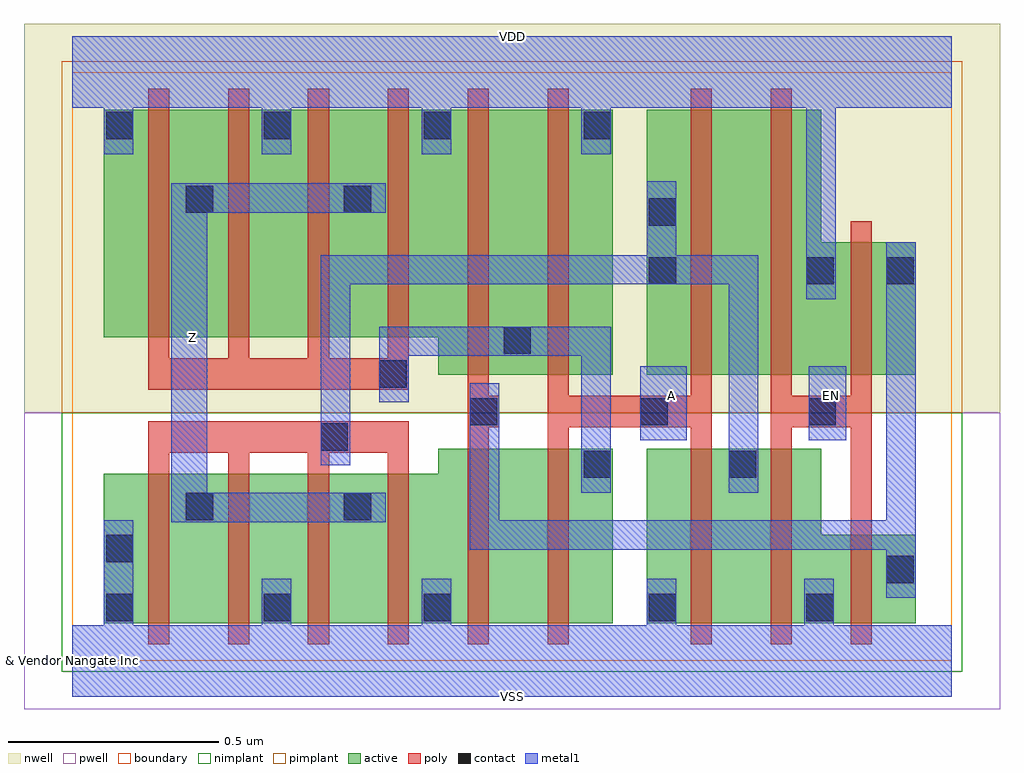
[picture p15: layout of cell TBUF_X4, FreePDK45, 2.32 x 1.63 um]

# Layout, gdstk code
import gdstk
lib = gdstk.Library(unit=1e-6, precision=1e-10)
def R(c, l, rs):  # rectangles x0, y0, x1, y1
    for r in rs: c.add(gdstk.rectangle(r[:2], r[2:], *l))
def A(c, l, x, y, w, h, nx, ny, dx, dy):  # array of equal rectangles
    R(c, l, [(x+i*dx, y+j*dy, x+i*dx+w, y+j*dy+h) for i in range(nx) for j in range(ny)])
def P(c, l, *ps):  # polygons
    for p in ps: c.add(gdstk.Polygon(p, *l))
active = (1, 0)
pwell = (2, 0)
nwell = (3, 0)
nimplant = (4, 0)
pimplant = (5, 0)
poly = (9, 0)
contact = (10, 0)
metal1 = (11, 0)
boundary = (235, 0)

tbuf_x4 = lib.new_cell('TBUF_X4')
P(tbuf_x4, active, [(0.075,0.09),(0.075,0.445),(0.87,0.445),(0.87,0.505),(1.285,0.505),(1.285,0.09)],
  [(0.87,0.68),(0.87,0.77),(0.075,0.77),(0.075,1.31),(1.285,1.31),(1.285,0.68)],
  [(1.365,0.09),(1.365,0.505),(1.78,0.505),(1.78,0.3),(2.005,0.3),(2.005,0.09)],
  [(1.365,0.68),(1.365,1.31),(1.78,1.31),(1.78,0.995),(2.005,0.995),(2.005,0.68)])
R(tbuf_x4, pwell, [(-0.115,-0.115,2.205,0.59)])
R(tbuf_x4, nwell, [(-0.115,0.59,2.205,1.515)])
R(tbuf_x4, nimplant, [(-0.025,-0.025,2.115,0.59)])
R(tbuf_x4, pimplant, [(-0.025,0.59,2.115,1.425)])
P(tbuf_x4, poly, [(0.18,0.04),(0.18,0.57),(0.8,0.57),(0.8,0.04),(0.75,0.04),(0.75,0.495),(0.61,0.495),(0.61,0.04),(0.56,0.04),(0.56,0.495),(0.42,0.495),(0.42,0.04),(0.37,0.04),(0.37,0.495),(0.23,0.495),(0.23,0.04)],
  [(0.18,0.645),(0.18,1.36),(0.23,1.36),(0.23,0.72),(0.37,0.72),(0.37,1.36),(0.42,1.36),(0.42,0.72),(0.56,0.72),(0.56,1.36),(0.61,1.36),(0.61,0.72),(0.75,0.72),(0.75,1.36),(0.8,1.36),(0.8,0.645)],
  [(0.94,0.04),(0.94,1.36),(0.99,1.36),(0.99,0.63),(1.015,0.63),(1.015,0.555),(0.99,0.555),(0.99,0.04)],
  [(1.13,0.04),(1.13,1.36),(1.18,1.36),(1.18,0.63),(1.47,0.63),(1.47,1.36),(1.52,1.36),(1.52,0.04),(1.47,0.04),(1.47,0.555),(1.18,0.555),(1.18,0.04)],
  [(1.66,0.04),(1.66,1.36),(1.71,1.36),(1.71,0.63),(1.85,0.63),(1.85,1.045),(1.9,1.045),(1.9,0.04),(1.85,0.04),(1.85,0.555),(1.71,0.555),(1.71,0.04)])
A(tbuf_x4, contact, 0.455, 1.24, 0.065, 0.065, 3, 1, 0.38, 0)
R(tbuf_x4, contact, [(0.08,0.095,0.145,0.16), (0.455,0.095,0.52,0.16), (0.835,0.095,0.9,0.16), (1.37,0.095,1.435,0.16), (1.745,0.095,1.81,0.16), (1.935,0.185,2,0.25), (0.08,0.235,0.145,0.3), (0.27,0.335,0.335,0.4), (0.645,0.335,0.71,0.4), (1.215,0.435,1.28,0.5), (1.56,0.435,1.625,0.5), (0.59,0.5,0.655,0.565), (0.945,0.56,1.01,0.625), (1.35,0.56,1.415,0.625), (1.75,0.56,1.815,0.625), (0.73,0.65,0.795,0.715), (1.025,0.73,1.09,0.795), (1.37,0.895,1.435,0.96), (1.745,0.895,1.81,0.96), (1.935,0.895,2,0.96), (1.37,1.035,1.435,1.1), (0.27,1.065,0.335,1.13), (0.645,1.065,0.71,1.13), (0.08,1.24,0.145,1.305)])
R(tbuf_x4, metal1, [(1.35,0.525,1.46,0.7), (1.75,0.525,1.84,0.7)])
P(tbuf_x4, metal1, [(0.235,0.33),(0.235,1.135),(0.745,1.135),(0.745,1.065),(0.32,1.065),(0.32,0.4),(0.745,0.4),(0.745,0.33)],
  [(1.21,0.4),(1.21,0.725),(0.8,0.725),(0.8,0.615),(0.73,0.615),(0.73,0.795),(1.28,0.795),(1.28,0.4)],
  [(1.56,0.4),(1.56,0.895),(0.66,0.895),(0.66,0.465),(0.59,0.465),(0.59,0.965),(1.365,0.965),(1.365,1.14),(1.435,1.14),(1.435,0.965),(1.63,0.965),(1.63,0.4)],
  [(1.935,0.15),(1.935,0.265),(0.945,0.265),(0.945,0.66),(1.015,0.66),(1.015,0.335),(1.935,0.335),(1.935,0.995),(2.005,0.995),(2.005,0.15)],
  [(0,-0.085),(0,0.085),(0.075,0.085),(0.075,0.335),(0.145,0.335),(0.145,0.085),(0.45,0.085),(0.45,0.195),(0.52,0.195),(0.52,0.085),(0.83,0.085),(0.83,0.195),(0.9,0.195),(0.9,0.085),(1.365,0.085),(1.365,0.195),(1.435,0.195),(1.435,0.085),(1.74,0.085),(1.74,0.195),(1.81,0.195),(1.81,0.085),(2.09,0.085),(2.09,-0.085)],
  [(1.745,0.86),(1.745,1.315),(1.28,1.315),(1.28,1.205),(1.21,1.205),(1.21,1.315),(0.9,1.315),(0.9,1.205),(0.83,1.205),(0.83,1.315),(0.52,1.315),(0.52,1.205),(0.45,1.205),(0.45,1.315),(0.145,1.315),(0.145,1.205),(0.075,1.205),(0.075,1.315),(0,1.315),(0,1.485),(2.09,1.485),(2.09,1.315),(1.815,1.315),(1.815,0.86)])
R(tbuf_x4, boundary, [(0,0,2.09,1.4)])
tbuf_x4.add(gdstk.Label('A', (1.425,0.63), layer=11, texttype=0))
tbuf_x4.add(gdstk.Label('EN', (1.805,0.63), layer=11, texttype=0))
tbuf_x4.add(gdstk.Label('VDD', (1.045,1.485), layer=11, texttype=0))
tbuf_x4.add(gdstk.Label('VSS', (1.045,-0.085), layer=11, texttype=0))
tbuf_x4.add(gdstk.Label('Z', (0.285,0.77), layer=11, texttype=0))
tbuf_x4.add(gdstk.Label('& Vendor Nangate Inc', (0,0), layer=63, texttype=63))
tbuf_x4.add(gdstk.Label('& Product Open Cell Library', (0,0), layer=63, texttype=63))
tbuf_x4.add(gdstk.Label('& Version 2010_12', (0,0), layer=63, texttype=63))
tbuf_x4.add(gdstk.Label('& Instance TBUF_X4', (0,0), layer=63, texttype=63))

lib.write_gds('TBUF_X4.gds')
